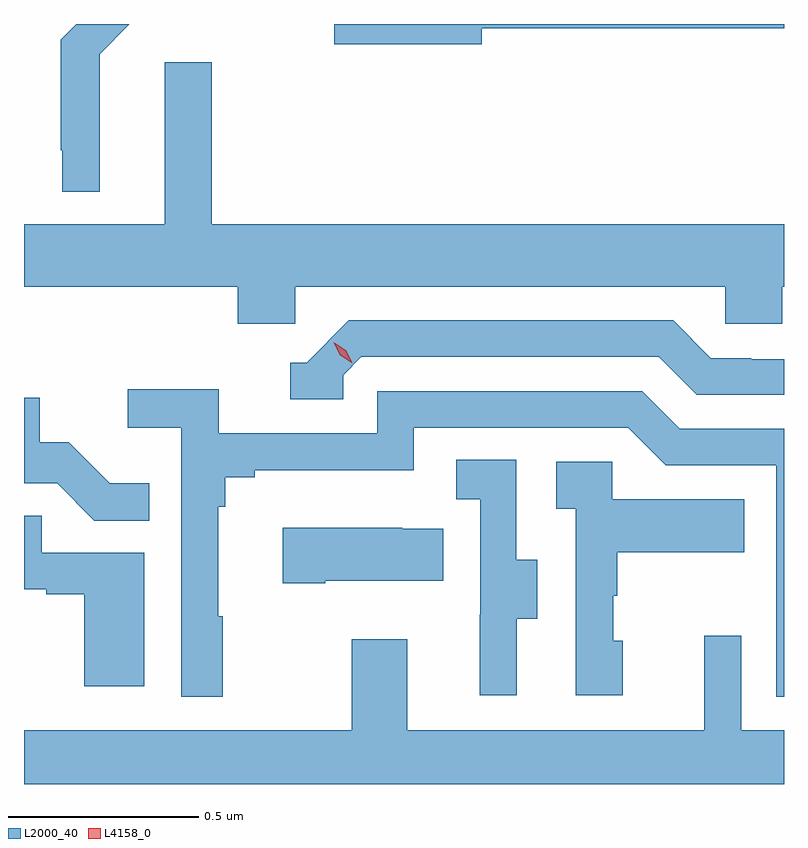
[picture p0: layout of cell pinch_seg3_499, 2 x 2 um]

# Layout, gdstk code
import gdstk
lib = gdstk.Library(unit=1e-6, precision=1e-09)
def P(c, l, *ps):  # polygons
    for p in ps: c.add(gdstk.Polygon(p, *l))
L2000_40 = (2000, 40)
L4158_0 = (4158, 0)

pinch_seg3_499 = lib.new_cell('pinch_seg3_499')
P(pinch_seg3_499, L2000_40, [(1003.108,677.62),(1003.904,677.62),(1003.904,677.631),(1002.72,677.631),(1002.72,677.578),(1003.108,677.578)],
  [(1002.103,677.552),(1002.181,677.631),(1002.042,677.631),(1002.001,677.59),(1002.001,677.299),(1002.005,677.299),(1002.005,677.189),(1002.103,677.189)],
  [(1002.618,676.94),(1003.749,676.94),(1003.749,676.842),(1003.899,676.842),(1003.899,676.94),(1003.904,676.94),(1003.904,677.104),(1002.398,677.104),(1002.398,677.53),(1002.275,677.53),(1002.275,677.104),(1001.904,677.104),(1001.904,676.94),(1002.467,676.94),(1002.467,676.842),(1002.618,676.842)],
  [(1002.744,676.707),(1002.792,676.755),(1003.575,676.755),(1003.674,676.656),(1003.904,676.656),(1003.904,676.749),(1003.818,676.749),(1003.818,676.752),(1003.711,676.752),(1003.612,676.851),(1002.759,676.851),(1002.648,676.74),(1002.605,676.74),(1002.605,676.644),(1002.744,676.644)],
  [(1002.427,676.073),(1002.415,676.073),(1002.415,676.361),(1002.434,676.361),(1002.434,676.438),(1002.511,676.438),(1002.511,676.457),(1002.93,676.457),(1002.93,676.569),(1003.494,676.569),(1003.593,676.47),(1003.884,676.47),(1003.884,675.861),(1003.904,675.861),(1003.904,676.566),(1003.63,676.566),(1003.531,676.665),(1002.834,676.665),(1002.834,676.554),(1002.416,676.554),(1002.416,676.67),(1002.177,676.67),(1002.177,676.568),(1002.318,676.568),(1002.318,675.861),(1002.427,675.861)],
  [(1002.233,676.423),(1002.129,676.423),(1002.022,676.53),(1001.946,676.53),(1001.946,676.647),(1001.904,676.647),(1001.904,676.422),(1001.991,676.422),(1002.089,676.324),(1002.233,676.324)],
  [(1003.201,676.066),(1003.255,676.066),(1003.255,676.221),(1003.2,676.221),(1003.2,676.484),(1003.041,676.484),(1003.041,676.381),(1003.104,676.381),(1003.104,676.077),(1003.103,676.077),(1003.103,675.864),(1003.201,675.864)],
  [(1003.48,676.008),(1003.455,676.008),(1003.455,676.127),(1003.465,676.127),(1003.465,676.241),(1003.799,676.241),(1003.799,676.381),(1003.452,676.381),(1003.452,676.479),(1003.305,676.479),(1003.305,676.355),(1003.356,676.355),(1003.356,675.864),(1003.48,675.864)],
  [(1002.22,676.239),(1001.951,676.239),(1001.951,676.337),(1001.904,676.337),(1001.904,676.143),(1001.963,676.143),(1001.963,676.131),(1002.062,676.131),(1002.062,675.888),(1002.22,675.888)],
  [(1002.697,676.166),(1003.007,676.166),(1003.007,676.303),(1002.899,676.303),(1002.899,676.306),(1002.585,676.306),(1002.585,676.159),(1002.697,676.159)],
  [(1003.904,675.772),(1003.791,675.772),(1003.791,676.021),(1003.694,676.021),(1003.694,675.772),(1002.913,675.772),(1002.913,676.012),(1002.766,676.012),(1002.766,675.772),(1001.904,675.772),(1001.904,675.631),(1003.904,675.631)])
P(pinch_seg3_499, L4158_0, [(1002.767,676.74),(1002.736,676.759),(1002.719,676.792),(1002.719,676.792),(1002.72,676.792),(1002.751,676.773),(1002.768,676.74),(1002.768,676.74)])

lib.write_gds('pinch_seg3_499.gds')
